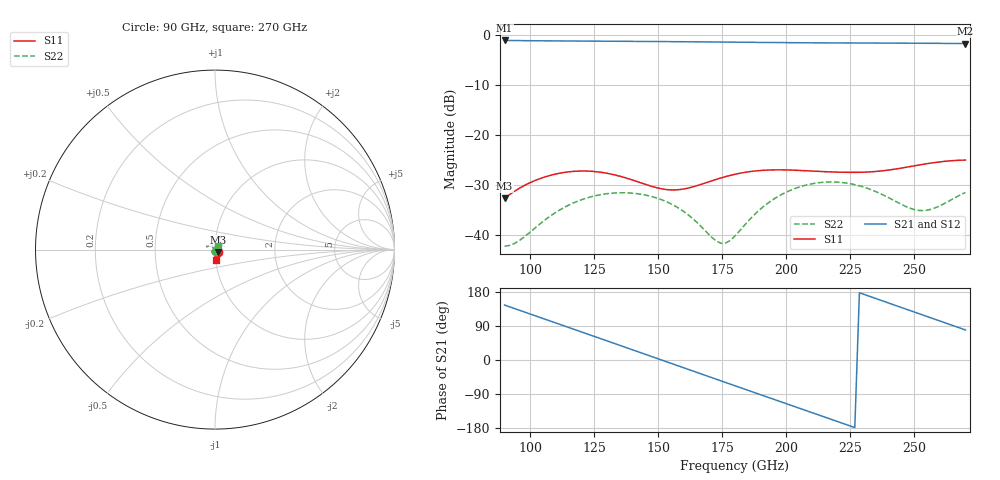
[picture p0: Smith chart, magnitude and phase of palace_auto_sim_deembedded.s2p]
! Created with skrf 1.11.0 (http://scikit-rf.org).
# GHz S DB R 50.0
!freq dBS11 angS11 dBS21 angS21 dBS12 angS12 dBS22 angS22
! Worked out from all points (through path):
!   101 points, 90 GHz to 270 GHz, reference 50 ohm
!   highest |S21| = -1.01 dB at 90 GHz (marker M1); lowest = -1.6 dB at 270 GHz (marker M2)
!   group delay of S21, straight-line fit = 6.57 ps
!   lowest |S11| = -32.7 dB at 90 GHz (marker M3), VSWR 1.05, Z = 51.7 - j1.63 ohm
!   |S11| at or under -10 dB: start of sweep to end of sweep
!   |S22| runs from -42.3 to -29.4 dB; largest |S21 - S12| = 9.6e-14
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90  -32.72 -43.1  -1.01 144.9  -1.01 144.9  -42.33 -43.2
95.4  -30.81 -44.1  -1.04 132.2  -1.04 132.2  -41.33 -23.0
106.2  -28.35 -54.2  -1.09 106.7  -1.09 106.7  -36.90 -8.9
113.4  -27.51 -63.2  -1.11 89.7  -1.11 89.7  -34.51 -13.5
120.6  -27.23 -72.6  -1.13 72.7  -1.13 72.7  -32.90 -23.1
127.8  -27.50 -81.2  -1.16 55.7  -1.16 55.7  -31.96 -35.2
136.8  -28.54 -88.8  -1.18 34.4  -1.18 34.4  -31.60 -52.9
151.2  -30.80 -85.1  -1.23 0.3  -1.23 0.3  -32.97 -87.0
162  -30.62 -72.0  -1.27 -25.4  -1.27 -25.4  -36.15 -121.6
172.8  -28.89 -67.3  -1.32 -50.9  -1.32 -50.9  -41.34 172.7
176.4  -28.35 -68.0  -1.34 -59.5  -1.34 -59.5  -41.69 137.0
180  -27.89 -69.4  -1.35 -68.0  -1.35 -68.0  -40.28 104.0
187.2  -27.26 -73.3  -1.39 -85.0  -1.39 -85.0  -36.20 60.3
194.4  -27.01 -77.5  -1.42 -102.0  -1.42 -102.0  -33.12 31.3
201.6  -27.04 -80.6  -1.45 -119.0  -1.45 -119.0  -31.12 6.9
210.6  -27.25 -82.5  -1.48 -140.2  -1.48 -140.2  -29.75 -22.1
219.6  -27.45 -82.2  -1.50 -161.3  -1.50 -161.3  -29.46 -51.7
226.8  -27.50 -80.7  -1.52 -178.3  -1.52 -178.3  -29.97 -76.9
241.2  -26.95 -76.1  -1.54 147.6  -1.54 147.6  -32.91 -137.7
253.8  -25.86 -76.0  -1.57 117.7  -1.57 117.7  -35.18 142.5
262.8  -25.25 -79.2  -1.60 96.4  -1.60 96.4  -33.48 84.1
270  -25.03 -82.5  -1.63 79.3  -1.63 79.3  -31.53 48.2
